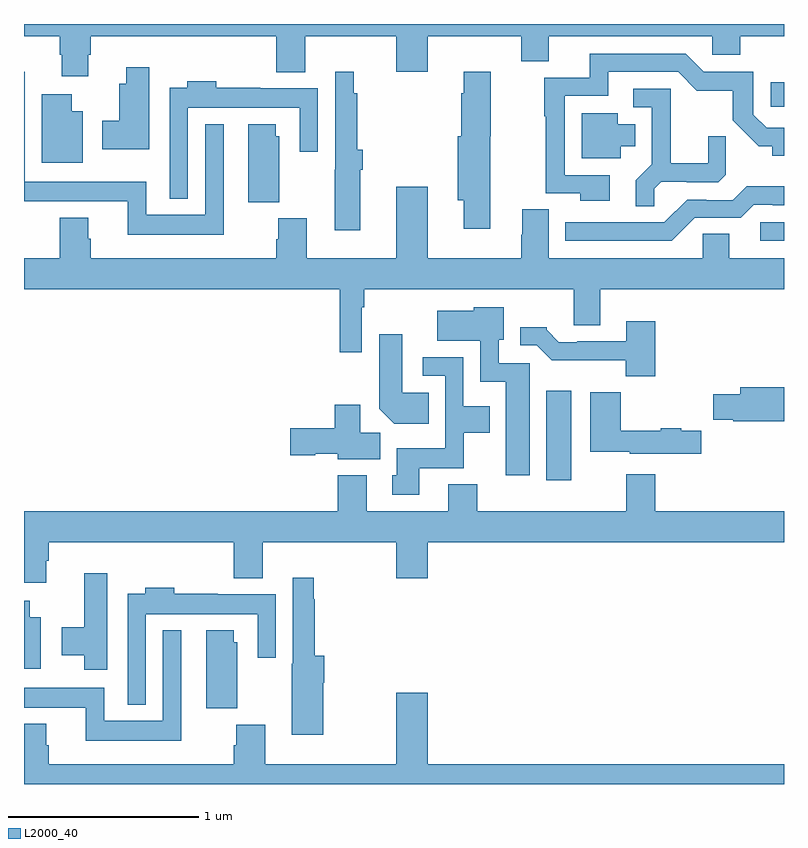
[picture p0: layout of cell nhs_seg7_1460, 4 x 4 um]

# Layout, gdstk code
import gdstk
lib = gdstk.Library(unit=1e-6, precision=1e-09)
def R(c, l, rs):  # rectangles x0, y0, x1, y1
    for r in rs: c.add(gdstk.rectangle(r[:2], r[2:], *l))
def P(c, l, *ps):  # polygons
    for p in ps: c.add(gdstk.Polygon(p, *l))
L2000_40 = (2000, 40)

nhs_seg7_1460 = lib.new_cell('nhs_seg7_1460')
R(nhs_seg7_1460, L2000_40, [(213.749,1011.6,213.88,1012.069), (214.875,1012.86,215,1012.956), (214.929,1013.565,215,1013.694)])
P(nhs_seg7_1460, L2000_40, [(211.339,1013.838),(211.352,1013.838),(211.352,1013.936),(212.327,1013.936),(212.327,1013.747),(212.479,1013.747),(212.479,1013.936),(212.96,1013.936),(212.96,1013.748),(213.124,1013.748),(213.124,1013.936),(213.616,1013.936),(213.616,1013.803),(213.763,1013.803),(213.763,1013.936),(214.623,1013.936),(214.623,1013.838),(214.77,1013.838),(214.77,1013.936),(215,1013.936),(215,1014),(211,1014),(211,1013.936),(211.187,1013.936),(211.187,1013.838),(211.199,1013.838),(211.199,1013.724),(211.339,1013.724)],
  [(214.084,1013.205),(213.846,1013.205),(213.846,1013.622),(214.075,1013.622),(214.075,1013.748),(214.443,1013.748),(214.542,1013.65),(214.731,1013.65),(214.731,1013.494),(214.868,1013.357),(214.938,1013.357),(214.938,1013.307),(215,1013.307),(215,1013.454),(214.908,1013.454),(214.839,1013.523),(214.839,1013.748),(214.578,1013.748),(214.482,1013.844),(213.977,1013.844),(213.977,1013.718),(213.738,1013.718),(213.738,1013.515),(213.745,1013.515),(213.745,1013.109),(213.928,1013.109),(213.928,1013.069),(214.084,1013.069)],
  [(211.66,1013.773),(211.538,1013.773),(211.538,1013.686),(211.502,1013.686),(211.502,1013.49),(211.413,1013.49),(211.413,1013.342),(211.66,1013.342)],
  [(212.05,1013.473),(211.953,1013.473),(211.953,1012.996),(211.644,1012.996),(211.644,1013.17),(211.005,1013.17),(211.005,1013.749),(211,1013.749),(211,1013.066),(211.547,1013.066),(211.547,1012.892),(212.05,1012.892)],
  [(212.77,1013.234),(212.783,1013.234),(212.783,1013.338),(212.753,1013.338),(212.753,1013.636),(212.736,1013.636),(212.736,1013.749),(212.637,1013.749),(212.637,1013.234),(212.636,1013.234),(212.636,1012.914),(212.77,1012.914)],
  [(213.454,1013.409),(213.456,1013.409),(213.456,1013.749),(213.314,1013.749),(213.314,1013.636),(213.302,1013.636),(213.302,1013.409),(213.284,1013.409),(213.284,1013.073),(213.314,1013.073),(213.314,1012.923),(213.454,1012.923)],
  [(211.863,1013.558),(212.451,1013.558),(212.451,1013.328),(212.547,1013.328),(212.547,1013.662),(212.243,1013.662),(212.243,1013.665),(212.012,1013.665),(212.012,1013.698),(211.859,1013.698),(211.859,1013.665),(211.767,1013.665),(211.767,1013.081),(211.863,1013.081)],
  [(214.317,1013.132),(214.354,1013.169),(214.488,1013.169),(214.488,1013.166),(214.653,1013.166),(214.694,1013.207),(214.694,1013.409),(214.6,1013.409),(214.6,1013.266),(214.403,1013.266),(214.403,1013.658),(214.206,1013.658),(214.206,1013.562),(214.305,1013.562),(214.305,1013.263),(214.219,1013.177),(214.219,1013.041),(214.317,1013.041)],
  [(211.309,1013.542),(211.252,1013.542),(211.252,1013.629),(211.094,1013.629),(211.094,1013.27),(211.309,1013.27)],
  [(214.141,1013.357),(214.216,1013.357),(214.216,1013.473),(214.126,1013.473),(214.126,1013.53),(213.935,1013.53),(213.935,1013.294),(214.141,1013.294)],
  [(212.344,1013.409),(212.326,1013.409),(212.326,1013.473),(212.18,1013.473),(212.18,1013.062),(212.344,1013.062)],
  [(214.53,1012.98),(214.773,1012.98),(214.842,1013.049),(214.942,1013.049),(214.942,1013.046),(215,1013.046),(215,1013.146),(214.804,1013.146),(214.731,1013.073),(214.592,1013.073),(214.592,1013.076),(214.491,1013.076),(214.371,1012.956),(213.848,1012.956),(213.848,1012.86),(214.41,1012.86)],
  [(212.778,1012.508),(212.791,1012.508),(212.791,1012.604),(213.893,1012.604),(213.893,1012.414),(214.033,1012.414),(214.033,1012.604),(215,1012.604),(215,1012.768),(214.711,1012.768),(214.711,1012.895),(214.572,1012.895),(214.572,1012.768),(213.763,1012.768),(213.763,1013.024),(213.623,1013.024),(213.623,1012.89),(213.616,1012.89),(213.616,1012.768),(213.124,1012.768),(213.124,1013.143),(212.96,1013.143),(212.96,1012.768),(212.487,1012.768),(212.487,1012.977),(212.339,1012.977),(212.339,1012.868),(212.327,1012.868),(212.327,1012.768),(211.352,1012.768),(211.352,1012.869),(211.339,1012.869),(211.339,1012.981),(211.187,1012.981),(211.187,1012.768),(211,1012.768),(211,1012.604),(212.662,1012.604),(212.662,1012.272),(212.778,1012.272)],
  [(213.661,1012.215),(213.498,1012.215),(213.498,1012.338),(213.526,1012.338),(213.526,1012.51),(213.366,1012.51),(213.366,1012.492),(213.174,1012.492),(213.174,1012.334),(213.402,1012.334),(213.402,1012.118),(213.536,1012.118),(213.536,1011.624),(213.661,1011.624)],
  [(214.322,1012.435),(214.169,1012.435),(214.169,1012.329),(213.913,1012.329),(213.913,1012.326),(213.814,1012.326),(213.75,1012.39),(213.75,1012.405),(213.611,1012.405),(213.611,1012.308),(213.699,1012.308),(213.778,1012.23),(214.167,1012.23),(214.167,1012.145),(214.322,1012.145)],
  [(213.131,1012.06),(212.992,1012.06),(212.992,1012.366),(212.87,1012.366),(212.87,1011.974),(212.948,1011.896),(213.131,1011.896)],
  [(213.079,1011.662),(213.315,1011.662),(213.315,1011.848),(213.451,1011.848),(213.451,1011.988),(213.312,1011.988),(213.312,1012.245),(213.099,1012.245),(213.099,1012.149),(213.216,1012.149),(213.216,1011.766),(212.963,1011.766),(212.963,1011.624),(212.939,1011.624),(212.939,1011.522),(213.079,1011.522)],
  [(215,1012.088),(214.769,1012.088),(214.769,1012.052),(214.627,1012.052),(214.627,1011.918),(214.732,1011.918),(214.732,1011.91),(215,1011.91)],
  [(214.565,1011.86),(214.46,1011.86),(214.46,1011.872),(214.35,1011.872),(214.35,1011.859),(214.142,1011.859),(214.142,1012.063),(213.98,1012.063),(213.98,1011.749),(214.188,1011.749),(214.188,1011.737),(214.565,1011.737)],
  [(212.875,1011.848),(212.77,1011.848),(212.77,1011.997),(212.636,1011.997),(212.636,1011.872),(212.4,1011.872),(212.4,1011.73),(212.532,1011.73),(212.532,1011.737),(212.652,1011.737),(212.652,1011.71),(212.875,1011.71)],
  [(211.117,1011.174),(211.13,1011.174),(211.13,1011.272),(212.105,1011.272),(212.105,1011.083),(212.257,1011.083),(212.257,1011.272),(212.96,1011.272),(212.96,1011.084),(213.124,1011.084),(213.124,1011.272),(215,1011.272),(215,1011.436),(214.322,1011.436),(214.322,1011.631),(214.169,1011.631),(214.169,1011.436),(213.386,1011.436),(213.386,1011.577),(213.233,1011.577),(213.233,1011.436),(212.803,1011.436),(212.803,1011.625),(212.651,1011.625),(212.651,1011.436),(211,1011.436),(211,1011.06),(211.117,1011.06)],
  [(211.438,1011.109),(211.316,1011.109),(211.316,1010.826),(211.199,1010.826),(211.199,1010.678),(211.316,1010.678),(211.316,1010.601),(211.438,1010.601)],
  [(212.574,1010.534),(212.579,1010.534),(212.579,1010.674),(212.531,1010.674),(212.531,1010.972),(212.524,1010.972),(212.524,1011.085),(212.415,1011.085),(212.415,1010.634),(212.408,1010.634),(212.408,1010.258),(212.574,1010.258)],
  [(211.641,1010.894),(212.229,1010.894),(212.229,1010.664),(212.325,1010.664),(212.325,1010.998),(212.021,1010.998),(212.021,1011.001),(211.79,1011.001),(211.79,1011.034),(211.637,1011.034),(211.637,1011.001),(211.545,1011.001),(211.545,1010.417),(211.641,1010.417)],
  [(211.087,1010.878),(211.03,1010.878),(211.03,1010.965),(211,1010.965),(211,1010.606),(211.087,1010.606)],
  [(211.828,1010.809),(211.731,1010.809),(211.731,1010.332),(211.422,1010.332),(211.422,1010.506),(211,1010.506),(211,1010.402),(211.325,1010.402),(211.325,1010.228),(211.828,1010.228)],
  [(212.122,1010.745),(212.104,1010.745),(212.104,1010.809),(211.958,1010.809),(211.958,1010.398),(212.122,1010.398)],
  [(215,1010.104),(213.124,1010.104),(213.124,1010.479),(212.96,1010.479),(212.96,1010.104),(212.27,1010.104),(212.27,1010.313),(212.117,1010.313),(212.117,1010.204),(212.105,1010.204),(212.105,1010.104),(211.13,1010.104),(211.13,1010.205),(211.117,1010.205),(211.117,1010.317),(211,1010.317),(211,1010),(215,1010)])

lib.write_gds('nhs_seg7_1460.gds')
